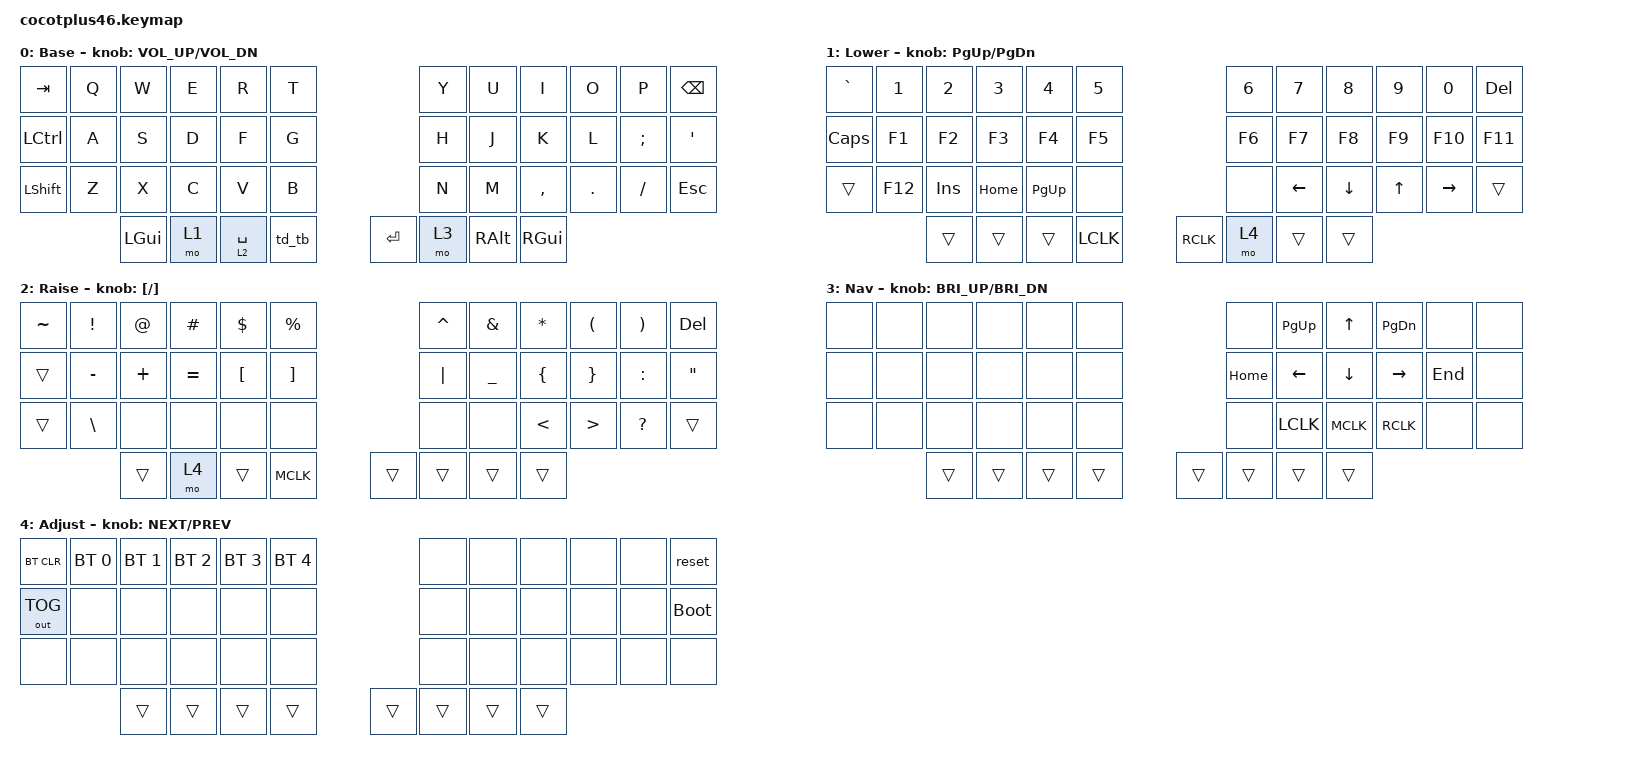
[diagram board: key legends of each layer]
/*
 * Copyright (c) 2024 The ZMK Contributors
 *
 * SPDX-License-Identifier: MIT
 */

#include <behaviors.dtsi>
#include <dt-bindings/zmk/keys.h>
#include <dt-bindings/zmk/bt.h>
#include <dt-bindings/zmk/rgb.h>
#include <dt-bindings/zmk/outputs.h>

/ {
    keymap {
        compatible = "zmk,keymap";

        // Default layer (QWERTY)
        default_layer {
            label = "Base";
            sensor-bindings = <&inc_dec_kp C_VOL_UP C_VOL_DN>;
            bindings = <
                &kp TAB    &kp Q     &kp W     &kp E     &kp R     &kp T                      &kp Y     &kp U     &kp I     &kp O     &kp P     &kp BSPC
                &kp LCTRL  &kp A     &kp S     &kp D     &kp F     &kp G                      &kp H     &kp J     &kp K     &kp L     &kp SEMI  &kp SQT
                &kp LSHFT  &kp Z     &kp X     &kp C     &kp V     &kp B                      &kp N     &kp M     &kp COMMA &kp DOT   &kp FSLH  &kp ESC
                                     &kp LGUI  &mo 1     &lt_spc 2 SPACE &td_tb &kp RET   &mo 3     &kp RALT  &kp RGUI
            >;
        };

        // Lower layer (Numbers, Function keys)
        lower_layer {
            label = "Lower";
            sensor-bindings = <&inc_dec_kp PG_UP PG_DN>;
            bindings = <
                &kp GRAVE  &kp N1    &kp N2    &kp N3    &kp N4    &kp N5                     &kp N6    &kp N7    &kp N8    &kp N9    &kp N0    &kp DEL
                &kp CAPS   &kp F1    &kp F2    &kp F3    &kp F4    &kp F5                     &kp F6    &kp F7    &kp F8    &kp F9    &kp F10   &kp F11
                &trans     &kp F12   &kp INS   &kp HOME  &kp PG_UP &none                      &none     &kp LEFT  &kp DOWN  &kp UP    &kp RIGHT &trans
                                     &trans    &trans    &trans    &kp LCLK   &kp RCLK        &mo 4     &trans    &trans
            >;
        };

        // Raise layer (Symbols)
        raise_layer {
            label = "Raise";
            sensor-bindings = <&inc_dec_kp LBKT RBKT>;
            bindings = <
                &kp TILDE  &kp EXCL  &kp AT    &kp HASH  &kp DLLR  &kp PRCNT                  &kp CARET &kp AMPS  &kp STAR  &kp LPAR  &kp RPAR  &kp DEL
                &trans     &kp MINUS &kp PLUS  &kp EQUAL &kp LBKT  &kp RBKT                   &kp PIPE  &kp UNDER &kp LBRC  &kp RBRC  &kp COLON &kp DQT
                &trans     &kp BSLH  &none     &none     &none     &none                      &none     &none     &kp LT    &kp GT    &kp QMARK &trans
                                     &trans    &mo 4     &trans    &kp MCLK   &trans          &trans    &trans    &trans
            >;
        };

        // Navigation/Mouse layer
        nav_layer {
            label = "Nav";
            sensor-bindings = <&inc_dec_kp C_BRI_UP C_BRI_DN>;
            bindings = <
                &none      &none     &none     &none     &none     &none                      &none     &kp PG_UP &kp UP    &kp PG_DN &none     &none
                &none      &none     &none     &none     &none     &none                      &kp HOME  &kp LEFT  &kp DOWN  &kp RIGHT &kp END   &none
                &none      &none     &none     &none     &none     &none                      &none     &kp LCLK  &kp MCLK  &kp RCLK  &none     &none
                                     &trans    &trans    &trans    &trans     &trans          &trans    &trans    &trans
            >;
        };

        // Adjust layer (Settings, Bluetooth)
        adjust_layer {
            label = "Adjust";
            sensor-bindings = <&inc_dec_kp C_NEXT C_PREV>;
            bindings = <
                &bt BT_CLR &bt BT_SEL 0 &bt BT_SEL 1 &bt BT_SEL 2 &bt BT_SEL 3 &bt BT_SEL 4    &none     &none     &none     &none     &none     &reset
                &out OUT_TOG &none      &none        &none        &none        &none           &none     &none     &none     &none     &none     &bootloader
                &none      &none      &none        &none        &none        &none           &none     &none     &none     &none     &none     &none
                                      &trans       &trans       &trans       &trans   &trans  &trans    &trans    &trans
            >;
        };
    };
};
